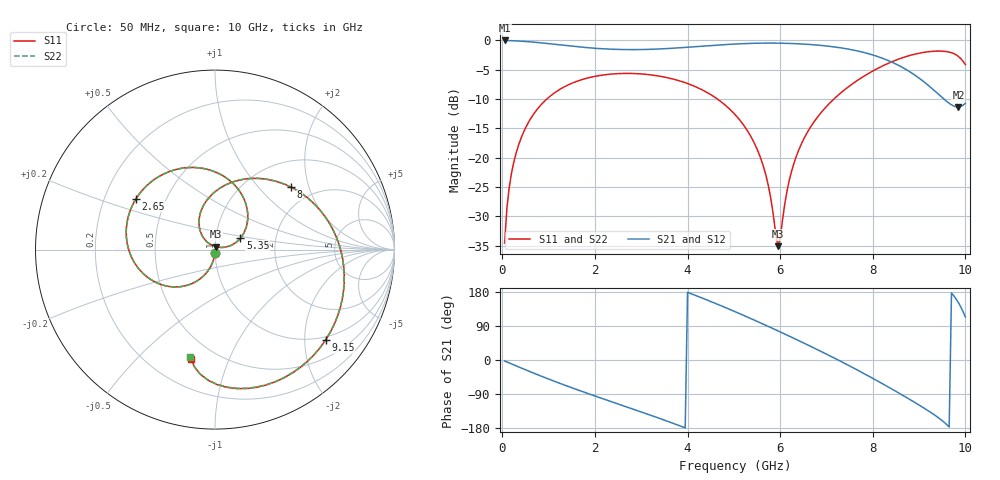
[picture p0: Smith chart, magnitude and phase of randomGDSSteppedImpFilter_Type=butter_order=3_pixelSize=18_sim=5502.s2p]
! freq	dB(S11)	phase(S11)	dB(S12)	phase(S12)
!  dB(S21)	phase(S21)	dB(S22)	phase(S22)
!S-par simulation data
#  GHz  S  DB  R 50
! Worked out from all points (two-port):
!   200 points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, 50 MHz to 10 GHz, reference 50 ohm
!   highest |S21| = 0.00 dB at 50 MHz (marker M1); lowest = -11.3 dB at 9.85 GHz (marker M2)
!   |S21| within 3 dB of the highest: start of sweep to 8.197 GHz
!   lowest |S11| = -35.1 dB at 5.95 GHz (marker M3), VSWR 1.04, Z = 50.6 + j1.65 ohm
!   |S11| at or under -10 dB: start of sweep to 961.5 MHz; 4.645 GHz to 7.161 GHz (2.516 GHz wide, 42.6 % of centre)
!   |S22| runs from -35.6 to -1.8 dB; largest |S21 - S12| = 0
!   S11 on the Smith chart (normalised r, x): 50 MHz: 1.00, -0.04; 2.65 GHz: 0.34, +0.26; 5.35 GHz: 1.32, +0.17; 8 GHz: 1.55, +1.54; 9.15 GHz: 0.91, -2.51; 10 GHz: 0.37, -0.74
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0.05  -34.58 -92.7  -0.00 -2.6  -0.00 -2.6  -34.58 -92.7
0.2  -22.62 -100.9  -0.04 -10.4  -0.04 -10.4  -22.62 -100.9
0.5  -14.96 -116.4  -0.18 -25.7  -0.18 -25.7  -14.96 -116.4
1.1  -9.10 -145.6  -0.64 -55.0  -0.64 -55.0  -9.10 -145.6
1.75  -6.61 -174.9  -1.18 -84.2  -1.18 -84.2  -6.61 -174.8
2.65  -5.63 147.2  -1.56 -122.2  -1.56 -122.2  -5.63 147.2
3.4  -6.10 115.4  -1.45 -154.2  -1.45 -154.2  -6.10 115.4
4.25  -8.18 77.0  -1.02 166.7  -1.02 166.7  -8.18 77.0
5.05  -12.86 38.5  -0.60 126.3  -0.60 126.3  -12.86 38.4
5.35  -16.15 24.5  -0.51 110.3  -0.51 110.3  -16.15 24.3
5.7  -23.24 13.5  -0.46 91.0  -0.46 91.0  -23.27 12.8
5.95  -35.11 67.7  -0.46 77.0  -0.46 77.0  -35.58 67.3
6.25  -22.22 135.3  -0.52 59.9  -0.52 59.9  -22.25 136.1
6.7  -14.25 116.9  -0.73 33.6  -0.73 33.6  -14.26 117.2
7.35  -8.69 80.0  -1.32 -6.2  -1.32 -6.2  -8.69 80.2
8  -5.22 39.3  -2.48 -48.4  -2.48 -48.4  -5.22 39.4
8.35  -3.85 16.2  -3.49 -72.3  -3.49 -72.3  -3.85 16.2
8.75  -2.68 -11.1  -5.11 -100.5  -5.11 -100.5  -2.69 -11.2
9.15  -1.98 -39.3  -7.34 -130.3  -7.34 -130.3  -1.99 -39.5
9.55  -1.86 -68.9  -10.10 -165.3  -10.10 -165.3  -1.88 -69.2
9.85  -2.73 -92.9  -11.35 151.3  -11.35 151.3  -2.79 -93.4
10  -4.12 -102.3  -10.73 113.5  -10.73 113.5  -4.26 -102.9
